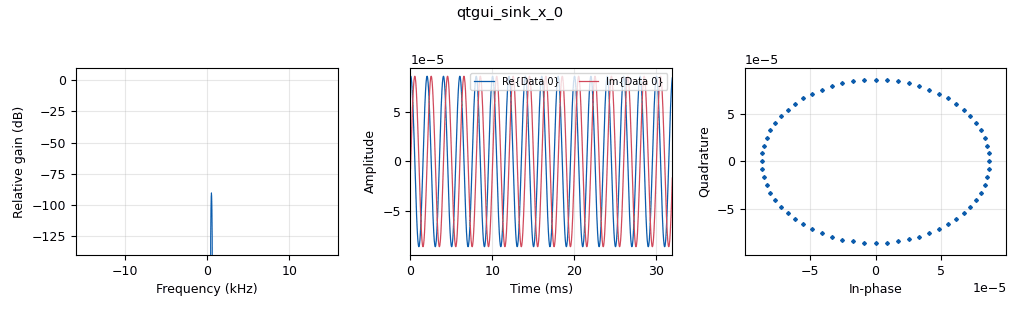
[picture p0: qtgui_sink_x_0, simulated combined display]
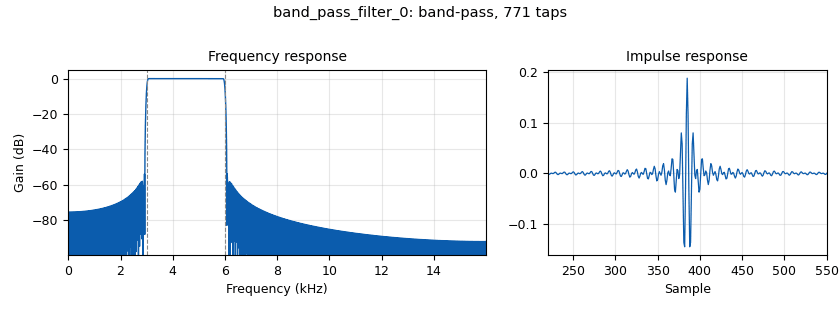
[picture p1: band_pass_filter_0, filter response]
options:
  parameters:
    author: abraham
    generate_options: qt_gui
    id: test_flowgraph
    output_language: python
    title: Not titled yet
  states: {}

blocks:
- name: amp
  id: variable_qtgui_range
  parameters:
    label: Amplitude
    orient: Qt.Horizontal
    start: '0'
    step: '0.01'
    stop: '1'
    value: '0.5'
  states: {}
- name: freq
  id: variable_qtgui_range
  parameters:
    label: Frequency
    orient: Qt.Horizontal
    start: '0'
    step: '100'
    stop: '10000'
    value: '500'
  states: {}
- name: samp_rate
  id: variable
  parameters:
    value: '32000'
  states: {}
- name: analog_sig_source_x_0
  id: analog_sig_source_x
  parameters:
    amp: amp
    freq: freq
    offset: '0'
    phase: '0'
    samp_rate: samp_rate
    type: complex
    waveform: analog.GR_COS_WAVE
  states: {}
- name: band_pass_filter_0
  id: band_pass_filter
  parameters:
    decim: '1'
    gain: '1'
    high_cutoff_freq: '6000'
    low_cutoff_freq: '3000'
    samp_rate: samp_rate
    type: fir_filter_ccf
    width: '100'
    win: firdes.WIN_HAMMING
  states: {}
- name: qtgui_sink_x_0
  id: qtgui_sink_x
  parameters:
    bw: samp_rate
    fc: '0'
    fftsize: '1024'
    type: complex
    wintype: firdes.WIN_BLACKMAN_hARRIS
  states: {}

connections:
- [analog_sig_source_x_0, '0', band_pass_filter_0, '0']
- [band_pass_filter_0, '0', qtgui_sink_x_0, '0']

metadata:
  file_format: 1
